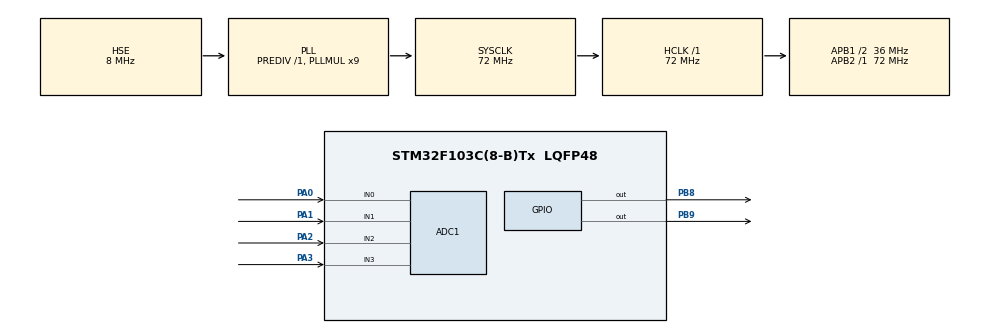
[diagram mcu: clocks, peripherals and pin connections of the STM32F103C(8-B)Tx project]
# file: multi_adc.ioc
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ADC1.Channel-0\#ChannelRegularConversion=ADC_CHANNEL_0
ADC1.Channel-1\#ChannelRegularConversion=ADC_CHANNEL_1
ADC1.Channel-2\#ChannelRegularConversion=ADC_CHANNEL_2
ADC1.Channel-3\#ChannelRegularConversion=ADC_CHANNEL_3
ADC1.DiscontinuousConvMode=ENABLE
ADC1.NbrOfConversion=4
ADC1.NbrOfConversionFlag=1
ADC1.Rank-0\#ChannelRegularConversion=1
ADC1.Rank-1\#ChannelRegularConversion=2
ADC1.Rank-2\#ChannelRegularConversion=3
ADC1.Rank-3\#ChannelRegularConversion=4
ADC1.SamplingTime-0\#ChannelRegularConversion=ADC_SAMPLETIME_1CYCLE_5
ADC1.SamplingTime-1\#ChannelRegularConversion=ADC_SAMPLETIME_1CYCLE_5
ADC1.SamplingTime-2\#ChannelRegularConversion=ADC_SAMPLETIME_1CYCLE_5
ADC1.SamplingTime-3\#ChannelRegularConversion=ADC_SAMPLETIME_1CYCLE_5
ADC1.master=1
Mcu.Family=STM32F1
Mcu.Name=STM32F103C(8-B)Tx
Mcu.Package=LQFP48
NVIC.PriorityGroup=NVIC_PRIORITYGROUP_4
PA0-WKUP.Signal=ADCx_IN0
PA1.Signal=ADCx_IN1
PA13.Mode=Serial_Wire
PA13.Signal=SYS_JTMS-SWDIO
PA14.Mode=Serial_Wire
PA14.Signal=SYS_JTCK-SWCLK
PA2.Signal=ADCx_IN2
PA3.Signal=ADCx_IN3
PB8.GPIO_ModeDefaultOutputPP=GPIO_MODE_OUTPUT_OD
PB8.GPIO_PuPd=GPIO_NOPULL
PB8.Signal=GPIO_Output
PB9.GPIO_ModeDefaultOutputPP=GPIO_MODE_OUTPUT_OD
PB9.GPIO_PuPd=GPIO_NOPULL
PB9.Signal=GPIO_Output
PD0-OSC_IN.Mode=HSE-External-Oscillator
PD0-OSC_IN.Signal=RCC_OSC_IN
PD1-OSC_OUT.Mode=HSE-External-Oscillator
PD1-OSC_OUT.Signal=RCC_OSC_OUT
ProjectManager.HeapSize=0x200
ProjectManager.StackSize=0x400
ProjectManager.TargetToolchain=CMake
RCC.ADCPresc=RCC_ADCPCLK2_DIV6
RCC.AHBFreq_Value=72000000
RCC.APB1CLKDivider=RCC_HCLK_DIV2
RCC.APB1Freq_Value=36000000
RCC.APB1TimFreq_Value=72000000
RCC.APB2Freq_Value=72000000
RCC.APB2TimFreq_Value=72000000
RCC.HCLKFreq_Value=72000000
RCC.PLLMUL=RCC_PLL_MUL9
RCC.PLLSourceVirtual=RCC_PLLSOURCE_HSE
RCC.SYSCLKFreq_VALUE=72000000
RCC.SYSCLKSource=RCC_SYSCLKSOURCE_PLLCLK
RCC.USBFreq_Value=72000000
SH.ADCx_IN0.0=ADC1_IN0,IN0
SH.ADCx_IN1.0=ADC1_IN1,IN1
SH.ADCx_IN2.0=ADC1_IN2,IN2
SH.ADCx_IN3.0=ADC1_IN3,IN3
board=custom

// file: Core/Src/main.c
/* USER CODE BEGIN Header */
/**
  ******************************************************************************
  * @file           : main.c
  * @brief          : Main program body
  ******************************************************************************
  * @attention
  *
  * Copyright (c) 2026 STMicroelectronics.
  * All rights reserved.
  *
  * This software is licensed under terms that can be found in the LICENSE file
  * in the root directory of this software component.
  * If no LICENSE file comes with this software, it is provided AS-IS.
  *
  ******************************************************************************
  */
/* USER CODE END Header */
#include "main.h"
#include "adc.h"
#include "gpio.h"

/* USER CODE BEGIN Includes */
#include "OLED.h"
#include "stm32f1xx_hal.h"
#include "stm32f1xx_hal_adc.h"
#include "stm32f1xx_hal_adc_ex.h"
#include "stm32f1xx_hal_def.h"
#include <stdint.h>
/* USER CODE END Includes */

/* USER CODE BEGIN PV */
uint16_t values[4] = {0}; //用于存放ADC数据
uint8_t i;
/* USER CODE END PV */

void SystemClock_Config(void);

int main(void)
{

  /* MCU Configuration--------------------------------------------------------*/

  /* Reset of all peripherals, Initializes the Flash interface and the Systick. */
  HAL_Init();

  /* Configure the system clock */
  SystemClock_Config();

  /* Initialize all configured peripherals */
  MX_GPIO_Init();
  MX_ADC1_Init();
  /* USER CODE BEGIN 2 */
  OLED_Init();
  OLED_Clear();
  HAL_ADCEx_Calibration_Start(&hadc1);
  OLED_ShowString(1, 1, "V1:");
  OLED_ShowString(2, 1, "V2:");
  OLED_ShowString(3, 1, "V3:");
  OLED_ShowString(4, 1, "V4:");
  /* USER CODE END 2 */

  /* Infinite loop */
  /* USER CODE BEGIN WHILE */
  while (1)
  {
    for (i = 0; i < 4; i++)
    {
      HAL_ADC_Start(&hadc1);
      if(HAL_ADC_PollForConversion(&hadc1, HAL_MAX_DELAY) == HAL_OK)
      {
        values[i] = HAL_ADC_GetValue(&hadc1);
      }
    }
    OLED_ShowNum(1, 5, values[0], 4);
    OLED_ShowNum(2, 5, values[1], 4);
    OLED_ShowNum(3, 5, values[2], 4);
    OLED_ShowNum(4, 5, values[3], 4);
    HAL_Delay(1000);
    /* USER CODE END WHILE */

  }
}

void SystemClock_Config(void)
{
  RCC_OscInitTypeDef RCC_OscInitStruct = {0};
  RCC_ClkInitTypeDef RCC_ClkInitStruct = {0};
  RCC_PeriphCLKInitTypeDef PeriphClkInit = {0};

  /** Initializes the RCC Oscillators according to the specified parameters
  * in the RCC_OscInitTypeDef structure.
  */
  RCC_OscInitStruct.OscillatorType = RCC_OSCILLATORTYPE_HSE;
  RCC_OscInitStruct.HSEState = RCC_HSE_ON;
  RCC_OscInitStruct.HSEPredivValue = RCC_HSE_PREDIV_DIV1;
  RCC_OscInitStruct.HSIState = RCC_HSI_ON;
  RCC_OscInitStruct.PLL.PLLState = RCC_PLL_ON;
  RCC_OscInitStruct.PLL.PLLSource = RCC_PLLSOURCE_HSE;
  RCC_OscInitStruct.PLL.PLLMUL = RCC_PLL_MUL9;
  if (HAL_RCC_OscConfig(&RCC_OscInitStruct) != HAL_OK)
  {
    Error_Handler();
  }

  /** Initializes the CPU, AHB and APB buses clocks
  */
  RCC_ClkInitStruct.ClockType = RCC_CLOCKTYPE_HCLK|RCC_CLOCKTYPE_SYSCLK
                              |RCC_CLOCKTYPE_PCLK1|RCC_CLOCKTYPE_PCLK2;
  RCC_ClkInitStruct.SYSCLKSource = RCC_SYSCLKSOURCE_PLLCLK;
  RCC_ClkInitStruct.AHBCLKDivider = RCC_SYSCLK_DIV1;
  RCC_ClkInitStruct.APB1CLKDivider = RCC_HCLK_DIV2;
  RCC_ClkInitStruct.APB2CLKDivider = RCC_HCLK_DIV1;

  if (HAL_RCC_ClockConfig(&RCC_ClkInitStruct, FLASH_LATENCY_2) != HAL_OK)
  {
    Error_Handler();
  }
  PeriphClkInit.PeriphClockSelection = RCC_PERIPHCLK_ADC;
  PeriphClkInit.AdcClockSelection = RCC_ADCPCLK2_DIV6;
  if (HAL_RCCEx_PeriphCLKConfig(&PeriphClkInit) != HAL_OK)
  {
    Error_Handler();
  }
}

void Error_Handler(void)
{
  __disable_irq();
  while (1)
  {
  }
}
